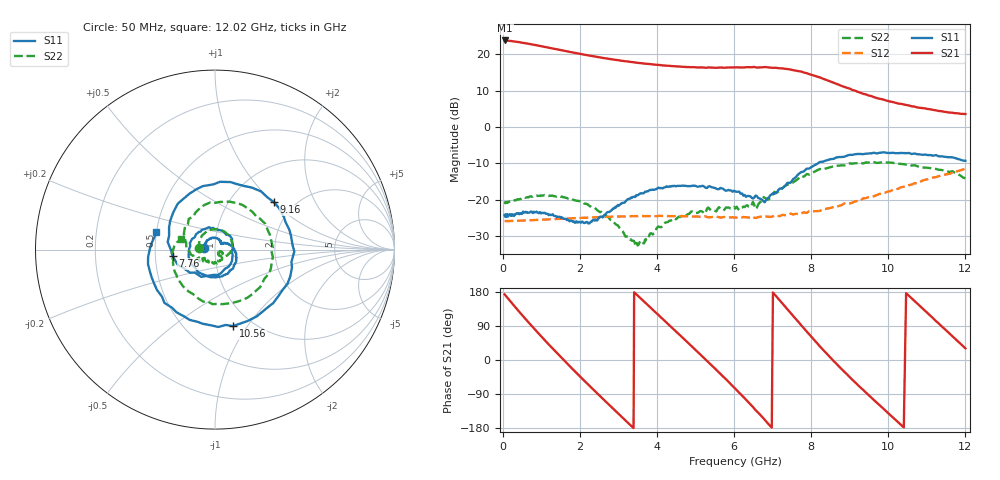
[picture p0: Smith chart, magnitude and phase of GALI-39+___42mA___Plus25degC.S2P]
! Mini-Circuits
! S2P DATA File Format
! Type: MMIC Amplifier
! Model: GALI-39  Reference Data:RDF-1232
! Note: All S Parameters are in dB deg format
! TEST CONDITIONS: INPUT POWER = -25dBm, Icc = 42mA, Vd = 3.63V @Temperature = +25degC
! 401 Frequency points
# MHz S DB R 50
!  FREQ  dB(S11)  PHS(S11)  dB(S21)  PHS(S21)  dB(S12)  PHS(S12)  dB(S22)  PHS(S22)
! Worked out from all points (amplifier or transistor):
!   401 points, 50 MHz to 12.02 GHz, reference 50 ohm
!   highest |S21| = 23.8 dB at 68 MHz (marker M1)
!   |S21| within 3 dB of that: start of sweep to 1.671 GHz
!   unconditionally stable (mu >= 1): start of sweep to end of sweep
!   at 965 MHz: K = 1.07, MAG = 22.4 dB, |S12| = -25.6 dB
!   at 3.31 GHz: K = 1.29, MAG = 18.0 dB, |S12| = -24.6 dB
!   at 12.02 GHz: K = 1.27, MAG = 4.4 dB, |S12| = -11.4 dB
!   S11 on the Smith chart (normalised r, x): 50 MHz: 0.88, +0.01; 7.76 GHz: 0.62, -0.05; 9.16 GHz: 1.58, +1.01; 10.56 GHz: 0.81, -0.86; 12.02 GHz: 0.50, +0.11
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50  -24.23 172.5  23.78 173.1  -25.91 -4.0  -20.89 174.5
68  -24.70 174.3  23.82 171.0  -25.91 -4.9  -20.96 173.6
440  -24.01 143.6  23.33 126.1  -25.81 -28.7  -19.85 143.3
775  -23.67 113.4  22.70 87.5  -25.65 -51.1  -19.19 111.0
1385  -24.63 66.2  21.44 21.0  -25.35 -93.0  -19.14 53.8
2050  -26.17 41.1  20.05 -47.7  -25.04 -140.3  -20.60 -0.1
2525  -24.87 39.7  19.17 -94.8  -24.80 -175.0  -23.45 -30.7
3100  -20.98 15.6  18.21 -151.0  -24.63 141.2  -28.55 -56.0
3540  -18.53 -9.6  17.64 167.1  -24.59 107.2  -32.20 -29.8
4050  -16.70 -46.7  17.08 118.3  -24.50 66.1  -27.40 -23.8
4540  -16.23 -86.4  16.66 71.6  -24.55 24.8  -25.06 -39.4
5130  -16.39 -140.7  16.40 15.2  -24.74 -26.6  -23.15 -67.9
6040  -17.77 119.0  16.36 -75.4  -24.89 -111.0  -22.47 -116.4
6430  -19.08 63.2  16.41 -116.4  -24.89 -149.5  -22.10 -132.0
6950  -18.82 -34.4  16.35 -174.1  -24.78 156.5  -19.60 -151.9
7760  -12.42 -171.5  15.25 91.1  -23.78 74.0  -13.48 141.7
8040  -10.92 154.1  14.31 58.8  -23.22 43.5  -12.62 117.3
8520  -8.87 100.7  12.50 5.8  -22.30 -4.3  -11.06 72.4
9160  -7.50 38.9  9.98 -59.4  -20.50 -63.7  -9.99 15.3
10060  -7.17 -36.1  7.02 -144.5  -17.69 -145.3  -9.81 -55.5
10560  -7.17 -76.8  5.90 168.7  -16.01 168.6  -10.34 -92.7
12020  -9.32 163.5  3.56 30.8  -11.41 37.9  -14.13 161.9
